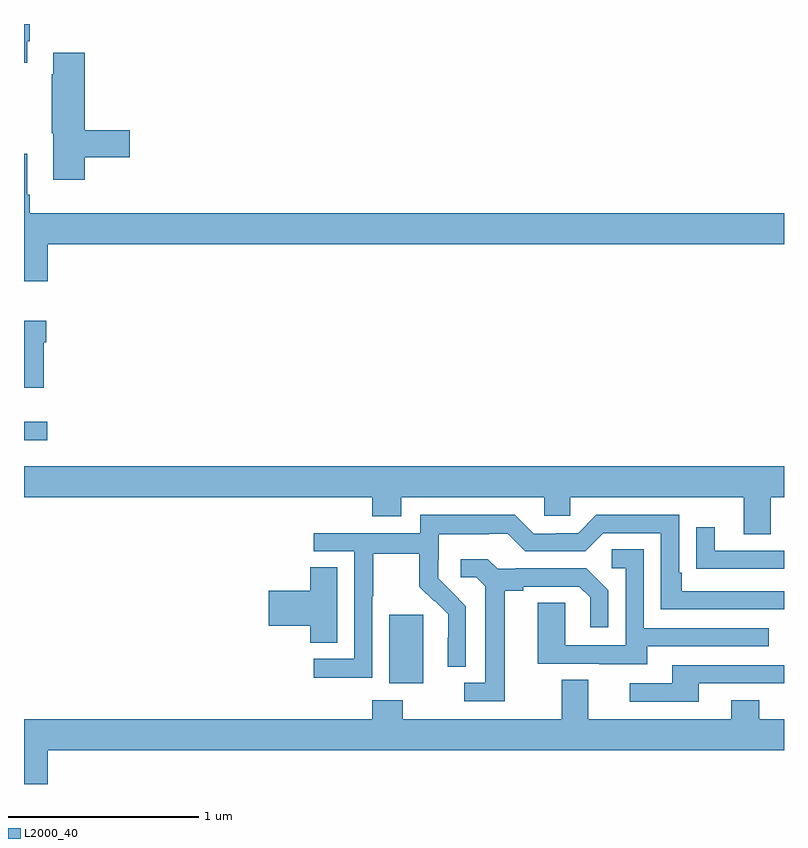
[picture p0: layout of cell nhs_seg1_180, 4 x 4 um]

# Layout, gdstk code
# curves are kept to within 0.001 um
import gdstk
lib = gdstk.Library(unit=1e-6, precision=1e-09)
def R(c, l, rs):  # rectangles x0, y0, x1, y1
    for r in rs: c.add(gdstk.rectangle(r[:2], r[2:], *l))
def P(c, l, *ps):  # polygons
    for p in ps: c.add(gdstk.Polygon(p, *l))
L2000_40 = (2000, 40)

nhs_seg1_180 = lib.new_cell('nhs_seg1_180')
R(nhs_seg1_180, L2000_40, [(120.923,574.73,121.102,575.091), (119,576.008,119.122,576.105)])
P(nhs_seg1_180, L2000_40, [(119.017,578.107),(119.03,578.107),(119.03,578.199),(119,578.199),(119,577.995),(119.017,577.995)],
  [(119.321,577.498),(119.557,577.498),(119.557,577.64),(119.321,577.64),(119.321,578.047),(119.153,578.047),(119.153,577.934),(119.146,577.934),(119.146,577.623),(119.153,577.623),(119.153,577.38),(119.321,577.38)],
  [(119.126,577.04),(123,577.04),(123,577.204),(119.03,577.204),(119.03,577.3),(119.017,577.3),(119.017,577.516),(119,577.516),(119,576.846),(119.126,576.846)],
  [(119.104,576.524),(119.117,576.524),(119.117,576.637),(119,576.637),(119,576.284),(119.104,576.284)],
  [(122.929,575.708),(123,575.708),(123,575.872),(119,575.872),(119,575.708),(120.833,575.708),(120.833,575.609),(120.985,575.609),(120.985,575.708),(121.737,575.708),(121.737,575.61),(121.875,575.61),(121.875,575.708),(122.789,575.708),(122.789,575.514),(122.929,575.514)],
  [(120.834,575.188),(120.837,575.188),(120.837,575.412),(121.081,575.412),(121.081,575.237),(121.158,575.16),(121.161,575.163),(121.232,575.093),(121.232,574.97),(121.23,574.97),(121.23,574.816),(121.326,574.816),(121.326,575.134),(121.18,575.282),(121.18,575.379),(121.182,575.379),(121.182,575.513),(121.445,575.513),(121.445,575.517),(121.545,575.517),(121.638,575.424),(121.953,575.424),(122.049,575.52),(122.352,575.52),(122.352,575.118),(123,575.118),(123,575.214),(122.461,575.214),(122.461,575.311),(122.448,575.311),(122.448,575.616),(122.013,575.616),(121.917,575.52),(121.799,575.52),(121.799,575.517),(121.683,575.517),(121.583,575.617),(121.086,575.617),(121.086,575.52),(120.525,575.52),(120.525,575.424),(120.738,575.424),(120.738,574.857),(120.525,574.857),(120.525,574.759),(120.834,574.759)],
  [(123,575.427),(122.635,575.427),(122.635,575.551),(122.539,575.551),(122.539,575.332),(122.641,575.332),(122.641,575.331),(123,575.331)],
  [(122.281,574.923),(122.921,574.923),(122.921,575.019),(122.262,575.019),(122.262,575.435),(122.094,575.435),(122.094,575.334),(122.166,575.334),(122.166,574.929),(121.848,574.929),(121.848,575.153),(121.703,575.153),(121.703,574.833),(122.027,574.833),(122.027,574.829),(122.281,574.829)],
  [(121.531,575.216),(121.627,575.216),(121.627,575.238),(121.922,575.238),(121.979,575.181),(121.979,575.025),(122.076,575.025),(122.076,575.218),(121.96,575.334),(121.588,575.334),(121.588,575.331),(121.494,575.331),(121.442,575.383),(121.299,575.383),(121.299,575.286),(121.38,575.286),(121.427,575.239),(121.427,574.731),(121.317,574.731),(121.317,574.635),(121.531,574.635)],
  [(120.649,575.339),(120.506,575.339),(120.506,575.216),(120.288,575.216),(120.288,575.033),(120.506,575.033),(120.506,574.942),(120.649,574.942)],
  [(122.551,574.728),(123,574.728),(123,574.824),(122.411,574.824),(122.411,574.728),(122.187,574.728),(122.187,574.632),(122.551,574.632)],
  [(119.126,574.376),(123,574.376),(123,574.54),(122.871,574.54),(122.871,574.639),(122.723,574.639),(122.723,574.54),(121.969,574.54),(121.969,574.748),(121.829,574.748),(121.829,574.54),(120.993,574.54),(120.993,574.639),(120.833,574.639),(120.833,574.54),(119,574.54),(119,574.199),(119.126,574.199)])

lib.write_gds('nhs_seg1_180.gds')
